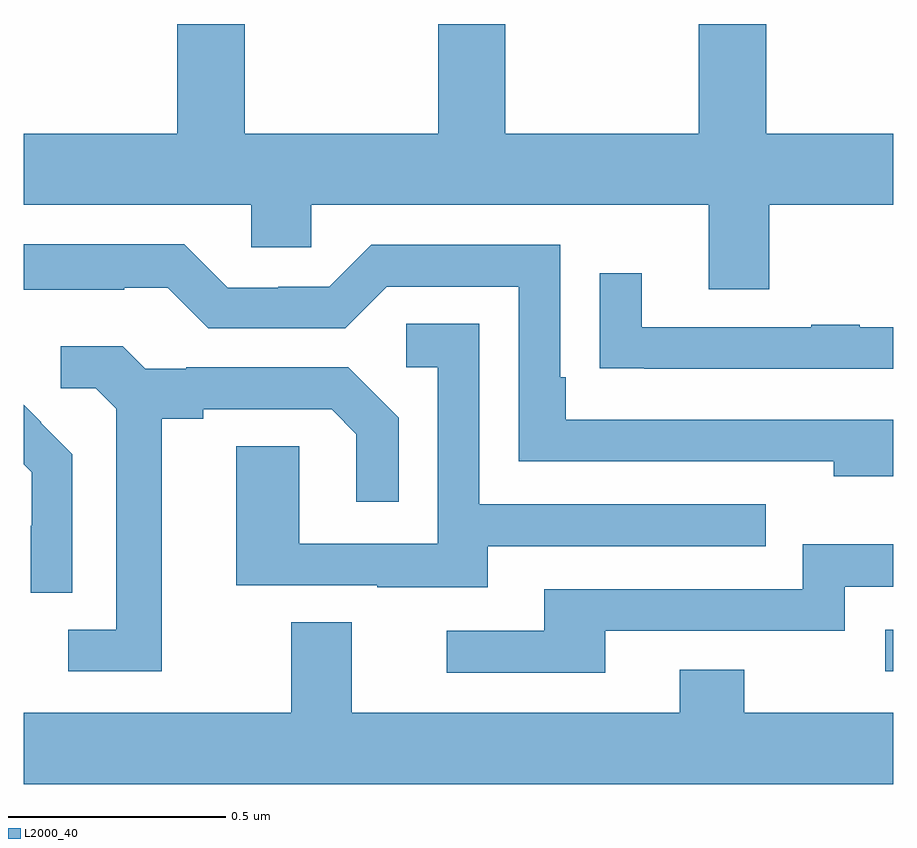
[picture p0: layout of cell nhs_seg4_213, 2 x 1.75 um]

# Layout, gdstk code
import gdstk
lib = gdstk.Library(unit=1e-6, precision=1e-09)
def R(c, l, rs):  # rectangles x0, y0, x1, y1
    for r in rs: c.add(gdstk.rectangle(r[:2], r[2:], *l))
def P(c, l, *ps):  # polygons
    for p in ps: c.add(gdstk.Polygon(p, *l))
L2000_40 = (2000, 40)

nhs_seg4_213 = lib.new_cell('nhs_seg4_213')
R(nhs_seg4_213, L2000_40, [(114.981,798.411,115,798.507)])
P(nhs_seg4_213, L2000_40, [(114.715,799.484),(115,799.484),(115,799.648),(114.708,799.648),(114.708,799.9),(114.553,799.9),(114.553,799.648),(114.108,799.648),(114.108,799.9),(113.953,799.9),(113.953,799.648),(113.508,799.648),(113.508,799.9),(113.353,799.9),(113.353,799.648),(113,799.648),(113,799.484),(113.523,799.484),(113.523,799.386),(113.661,799.386),(113.661,799.484),(114.575,799.484),(114.575,799.29),(114.715,799.29)],
  [(115,798.99),(114.247,798.99),(114.247,799.087),(114.234,799.087),(114.234,799.392),(113.799,799.392),(113.703,799.296),(113.585,799.296),(113.585,799.293),(113.469,799.293),(113.369,799.393),(113,799.393),(113,799.289),(113.231,799.289),(113.231,799.293),(113.331,799.293),(113.424,799.2),(113.739,799.2),(113.835,799.296),(114.138,799.296),(114.138,798.894),(114.863,798.894),(114.863,798.86),(115,798.86)],
  [(115,799.203),(114.923,799.203),(114.923,799.208),(114.811,799.208),(114.811,799.203),(114.421,799.203),(114.421,799.327),(114.325,799.327),(114.325,799.108),(114.427,799.108),(114.427,799.107),(115,799.107)],
  [(114.067,798.699),(114.707,798.699),(114.707,798.795),(114.048,798.795),(114.048,799.211),(113.88,799.211),(113.88,799.11),(113.952,799.11),(113.952,798.705),(113.634,798.705),(113.634,798.929),(113.489,798.929),(113.489,798.609),(113.813,798.609),(113.813,798.605),(114.067,798.605)],
  [(113.317,798.992),(113.413,798.992),(113.413,799.014),(113.708,799.014),(113.765,798.957),(113.765,798.801),(113.862,798.801),(113.862,798.994),(113.746,799.11),(113.374,799.11),(113.374,799.107),(113.28,799.107),(113.228,799.159),(113.085,799.159),(113.085,799.062),(113.166,799.062),(113.213,799.015),(113.213,798.507),(113.103,798.507),(113.103,798.411),(113.317,798.411)],
  [(113.112,798.91),(113.039,798.983),(113.04,798.984),(113,799.024),(113,798.887),(113.018,798.869),(113.018,798.746),(113.016,798.746),(113.016,798.592),(113.112,798.592)],
  [(114.337,798.504),(114.888,798.504),(114.888,798.606),(115,798.606),(115,798.703),(114.792,798.703),(114.792,798.6),(114.197,798.6),(114.197,798.504),(113.973,798.504),(113.973,798.408),(114.337,798.408)],
  [(115,798.316),(114.657,798.316),(114.657,798.415),(114.509,798.415),(114.509,798.316),(113.755,798.316),(113.755,798.524),(113.615,798.524),(113.615,798.316),(113,798.316),(113,798.152),(115,798.152)])

lib.write_gds('nhs_seg4_213.gds')
